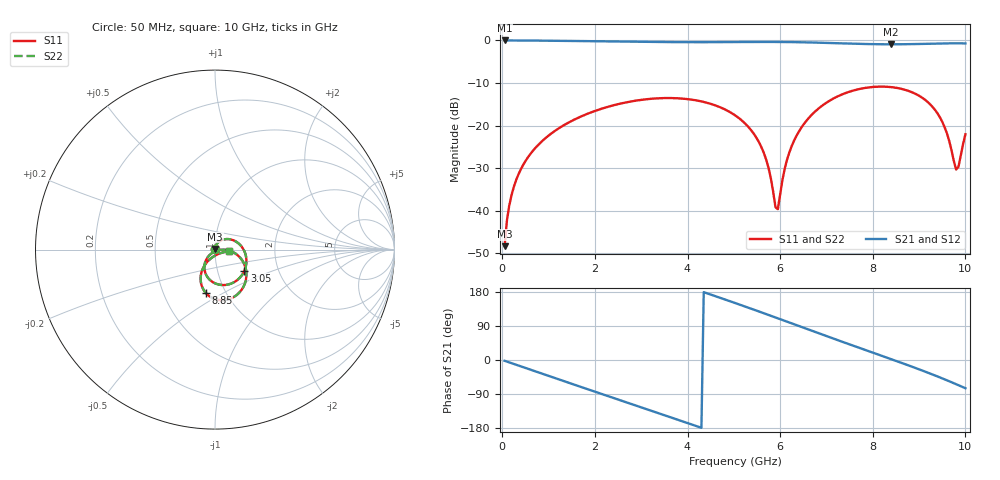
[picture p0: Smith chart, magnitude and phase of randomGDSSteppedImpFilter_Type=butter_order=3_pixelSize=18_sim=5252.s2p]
! freq	dB(S11)	phase(S11)	dB(S12)	phase(S12)
!  dB(S21)	phase(S21)	dB(S22)	phase(S22)
!S-par simulation data
#  GHz  S  DB  R 50
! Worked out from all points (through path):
!   200 points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, 50 MHz to 10 GHz, reference 50 ohm
!   highest |S21| = 0.00 dB at 50 MHz (marker M1); lowest = -0.9 dB at 8.4 GHz (marker M2)
!   group delay of S21, straight-line fit = 119 ps
!   lowest |S11| = -48.3 dB at 50 MHz (marker M3), VSWR 1.01, Z = 50 + j0.382 ohm
!   |S11| at or under -10 dB: start of sweep to end of sweep
!   |S22| runs from -48.3 to -10.8 dB; largest |S21 - S12| = 0
!   S11 on the Smith chart (normalised r, x): 50 MHz: 1.00, +0.01; 3.05 GHz: 1.34, -0.33; 8.85 GHz: 0.81, -0.41; 10 GHz: 1.17, -0.02
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0.05  -48.35 86.9  -0.00 -2.1  -0.00 -2.1  -48.35 86.9
0.1  -42.33 85.3  -0.00 -4.2  -0.00 -4.2  -42.33 85.3
0.2  -36.31 81.4  -0.00 -8.4  -0.00 -8.4  -36.31 81.4
0.5  -28.35 69.1  -0.02 -21.0  -0.02 -21.0  -28.35 69.1
1.75  -17.63 17.3  -0.15 -73.2  -0.15 -73.2  -17.63 17.4
2.4  -15.24 -9.5  -0.25 -100.2  -0.25 -100.2  -15.24 -9.4
3.05  -13.89 -36.2  -0.33 -127.1  -0.33 -127.1  -13.89 -36.1
3.4  -13.58 -50.5  -0.37 -141.6  -0.37 -141.6  -13.58 -50.4
4.25  -14.21 -84.9  -0.41 -176.8  -0.41 -176.8  -14.21 -84.8
5.05  -17.77 -116.5  -0.37 149.4  -0.37 149.4  -17.77 -116.6
5.6  -25.20 -134.0  -0.35 125.5  -0.35 125.5  -25.21 -134.4
5.95  -39.66 -49.4  -0.35 110.0  -0.35 110.0  -40.11 -48.3
6.05  -32.73 -7.9  -0.36 105.6  -0.36 105.6  -32.82 -6.5
6.2  -26.26 -1.2  -0.38 98.9  -0.38 98.9  -26.28 -0.4
6.7  -17.27 -15.6  -0.48 76.5  -0.48 76.5  -17.27 -15.2
7.55  -11.86 -50.1  -0.75 39.0  -0.75 39.0  -11.86 -49.9
8.35  -10.92 -82.5  -0.90 4.3  -0.90 4.3  -10.92 -82.3
8.4  -10.97 -84.5  -0.91 2.1  -0.91 2.1  -10.97 -84.3
8.85  -12.19 -102.3  -0.86 -17.8  -0.86 -17.8  -12.18 -102.1
9.45  -18.07 -122.7  -0.71 -46.0  -0.71 -46.0  -18.07 -122.6
9.8  -30.33 -74.9  -0.66 -63.8  -0.66 -63.8  -30.31 -74.8
10  -22.05 -7.2  -0.70 -74.5  -0.70 -74.5  -22.06 -7.1
